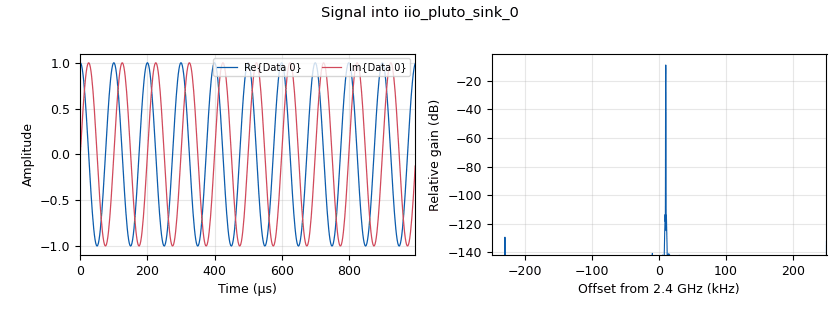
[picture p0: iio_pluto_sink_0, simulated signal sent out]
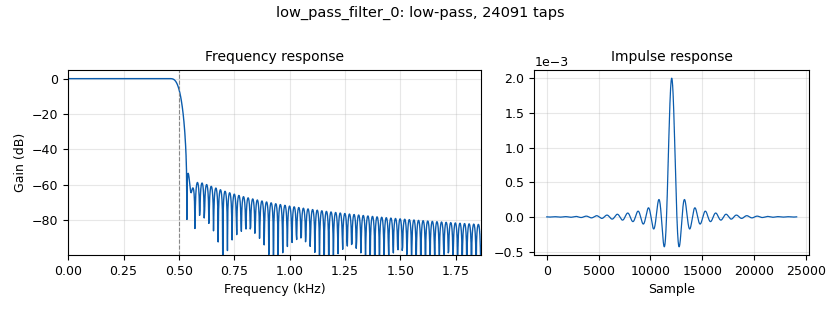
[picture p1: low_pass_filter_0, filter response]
options:
  parameters:
    author: sdr
    generate_options: qt_gui
    id: cw_radar
    output_language: python
    title: Not titled yet
  states: {}

blocks:
- name: lo_freq
  id: variable
  parameters:
    value: '2400000000'
  states: {}
- name: samp_rate
  id: variable
  parameters:
    value: 500e3
  states: {}
- name: sine_freq
  id: variable
  parameters:
    value: '10000'
  states: {}
- name: analog_agc_xx_0
  id: analog_agc_xx
  parameters:
    gain: '1.0'
    max_gain: '65536'
    rate: '1e-4'
    reference: '1.0'
    type: complex
  states: {}
- name: analog_agc_xx_0_0
  id: analog_agc_xx
  parameters:
    gain: '1.0'
    max_gain: '65536'
    rate: '1e-4'
    reference: '1.0'
    type: complex
  states: {}
- name: analog_sig_source_x_0
  id: analog_sig_source_x
  parameters:
    amp: '1'
    freq: sine_freq
    offset: '0'
    phase: '0'
    samp_rate: samp_rate
    type: complex
    waveform: analog.GR_COS_WAVE
  states: {}
- name: blocks_multiply_conjugate_cc_0
  id: blocks_multiply_conjugate_cc
  parameters: {}
  states: {}
- name: dc_blocker_xx_0
  id: dc_blocker_xx
  parameters:
    length: '32'
    long_form: 'True'
    type: cc
  states: {}
- name: iio_pluto_sink_0
  id: iio_pluto_sink
  parameters:
    attenuation1: '0'
    bandwidth: '500000'
    buffer_size: '32768'
    cyclic: 'False'
    filter_source: '''Auto'''
    frequency: lo_freq
    samplerate: samp_rate
    type: fc32
  states: {}
- name: iio_pluto_source_0
  id: iio_pluto_source
  parameters:
    bandwidth: '500000'
    bbdc: 'True'
    buffer_size: '32768'
    filter_source: '''Auto'''
    frequency: lo_freq
    gain1: '''slow_attack'''
    manual_gain1: '35'
    quadrature: 'True'
    rfdc: 'True'
    samplerate: samp_rate
    type: fc32
  states: {}
- name: low_pass_filter_0
  id: low_pass_filter
  parameters:
    cutoff_freq: '500'
    decim: '1000'
    gain: '1'
    samp_rate: samp_rate
    type: fir_filter_ccf
    width: '50'
    win: window.WIN_HAMMING
  states: {}
- name: qtgui_waterfall_sink_x_1
  id: qtgui_waterfall_sink_x
  parameters:
    bw: samp_rate/1000
    fc: '0'
    fftsize: '512'
    int_max: '-60'
    int_min: '-80'
    name: Waterfall Plot
    type: complex
    update_time: '0.01'
    wintype: window.WIN_HAMMING
  states: {}

connections:
- [analog_agc_xx_0, '0', blocks_multiply_conjugate_cc_0, '0']
- [analog_agc_xx_0_0, '0', blocks_multiply_conjugate_cc_0, '1']
- [analog_sig_source_x_0, '0', analog_agc_xx_0, '0']
- [analog_sig_source_x_0, '0', iio_pluto_sink_0, '0']
- [blocks_multiply_conjugate_cc_0, '0', low_pass_filter_0, '0']
- [dc_blocker_xx_0, '0', qtgui_waterfall_sink_x_1, '0']
- [iio_pluto_source_0, '0', analog_agc_xx_0_0, '0']
- [low_pass_filter_0, '0', dc_blocker_xx_0, '0']

metadata:
  file_format: 1
  grc_version: 3.10.9.2
